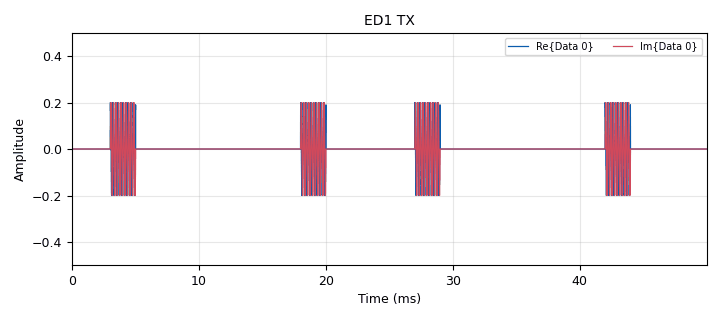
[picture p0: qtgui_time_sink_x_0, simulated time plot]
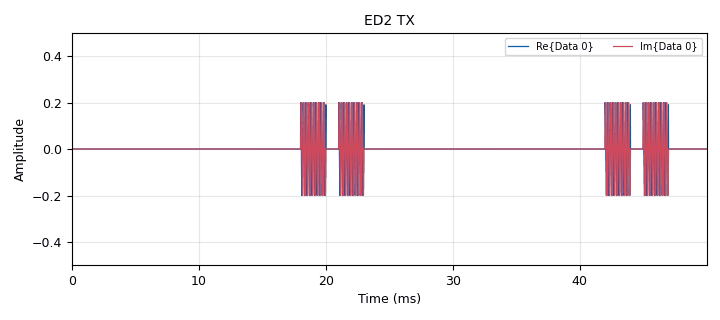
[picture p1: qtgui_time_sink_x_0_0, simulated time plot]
options:
  parameters:
    author: Qi
    generate_options: qt_gui
    id: ask_oac
    output_language: python
    title: ASK_OAC
  states: {}

blocks:
- name: Symbol_duration
  id: variable_qtgui_range
  parameters:
    gui_hint: 3,0,1,1
    label: Symbol_duration
    rangeType: int
    start: '100'
    step: '1'
    stop: '1000'
    value: '200'
  states: {}
- name: V_out
  id: variable_qtgui_range
  parameters:
    gui_hint: 4,0,1,1
    label: TX1_amp
    start: '0.01'
    step: '0.01'
    stop: '0.5'
    value: '0.2'
  states: {}
- name: V_out_0
  id: variable_qtgui_range
  parameters:
    gui_hint: 4,1,1,1
    label: TX2_amp
    start: '0.01'
    step: '0.01'
    stop: '0.5'
    value: '0.2'
  states: {}
- name: delay_0
  id: variable_qtgui_range
  parameters:
    label: TX1_delay
    rangeType: int
    start: '0'
    step: '1'
    stop: '1000'
    value: '0'
  states: {}
- name: gap
  id: variable_qtgui_range
  parameters:
    gui_hint: 3,1,1,1
    label: Guard_time
    rangeType: int
    start: '50'
    step: '1'
    stop: '1000'
    value: '100'
  states: {}
- name: samp_rate
  id: variable
  parameters:
    value: '100000'
  states: {}
- name: analog_sig_source_x_0
  id: analog_sig_source_x
  parameters:
    amp: '1'
    freq: '5000'
    offset: '0'
    phase: '0'
    samp_rate: samp_rate
    type: complex
    waveform: analog.GR_COS_WAVE
  states: {}
- name: analog_sig_source_x_0_0
  id: analog_sig_source_x
  parameters:
    amp: '1'
    freq: '5000'
    offset: '0'
    phase: '0'
    samp_rate: samp_rate
    type: complex
    waveform: analog.GR_COS_WAVE
  states: {}
- name: analog_sig_source_x_0_1
  id: analog_sig_source_x
  parameters:
    amp: '1'
    freq: '5000'
    offset: '0'
    phase: '0'
    samp_rate: samp_rate
    type: complex
    waveform: analog.GR_COS_WAVE
  states: {}
- name: band_pass_filter_0
  id: band_pass_filter
  parameters:
    decim: '1'
    gain: '1'
    high_cutoff_freq: '4000'
    low_cutoff_freq: '0.01'
    samp_rate: samp_rate
    type: fir_filter_ccf
    width: '1'
    win: window.WIN_HAMMING
  states: {}
- name: blocks_delay_0
  id: blocks_delay
  parameters:
    delay: delay_0
    type: complex
  states: {}
- name: blocks_multiply_const_vxx_0
  id: blocks_multiply_const_vxx
  parameters:
    const: V_out
    type: complex
  states: {}
- name: blocks_multiply_const_vxx_0_0
  id: blocks_multiply_const_vxx
  parameters:
    const: V_out_0
    type: complex
  states: {}
- name: blocks_multiply_const_vxx_0_0_0
  id: blocks_multiply_const_vxx
  parameters:
    const: '1'
    type: complex
  states: {}
- name: blocks_multiply_xx_0
  id: blocks_multiply_xx
  parameters:
    type: complex
  states: {}
- name: blocks_multiply_xx_0_0
  id: blocks_multiply_xx
  parameters:
    type: complex
  states: {}
- name: blocks_multiply_xx_0_1
  id: blocks_multiply_xx
  parameters:
    type: complex
  states: {}
- name: blocks_null_sink_0
  id: blocks_null_sink
  parameters:
    type: complex
  states: {}
- name: blocks_null_source_0_0
  id: blocks_null_source
  parameters:
    type: complex
  states: {}
- name: blocks_null_source_0_0_0
  id: blocks_null_source
  parameters:
    type: complex
  states: {}
- name: blocks_repeat_0
  id: blocks_repeat
  parameters:
    interp: Symbol_duration
    type: complex
  states: {}
- name: blocks_repeat_0_0
  id: blocks_repeat
  parameters:
    interp: Symbol_duration
    type: complex
  states: {}
- name: blocks_stream_mux_0_0
  id: blocks_stream_mux
  parameters:
    lengths: (Symbol_duration, gap)
    type: complex
  states: {}
- name: blocks_stream_mux_0_0_0
  id: blocks_stream_mux
  parameters:
    lengths: (Symbol_duration, gap)
    type: complex
  states: {}
- name: blocks_vector_source_x_0
  id: blocks_vector_source_x
  parameters:
    repeat: 'True'
    type: complex
    vector: (1, 0, 0, 1,0, 0, 0, 0)
  states: {}
- name: blocks_vector_source_x_0_0
  id: blocks_vector_source_x
  parameters:
    repeat: 'True'
    type: complex
    vector: (1, 1, 0, 0, 0, 0, 0, 0)
  states: {}
- name: iio_pluto_sink_0
  id: iio_pluto_sink
  parameters:
    attenuation1: '10.0'
    bandwidth: '20000000'
    buffer_size: '4096'
    cyclic: 'False'
    filter_source: '''Auto'''
    frequency: '2400000000'
    samplerate: samp_rate
    type: fc32
    uri: ip:192.168.4.1
  states: {}
- name: iio_pluto_sink_0_0
  id: iio_pluto_sink
  parameters:
    attenuation1: '10.0'
    bandwidth: '20000000'
    buffer_size: '4096'
    cyclic: 'False'
    filter_source: '''Auto'''
    frequency: '2400000000'
    samplerate: samp_rate
    type: fc32
    uri: ip:192.168.6.1
  states: {}
- name: iio_pluto_source_0
  id: iio_pluto_source
  parameters:
    bandwidth: '20000000'
    bbdc: 'True'
    buffer_size: '4096'
    filter_source: '''Auto'''
    frequency: '2400000000'
    gain1: '''slow_attack'''
    quadrature: 'True'
    rfdc: 'True'
    samplerate: samp_rate
    type: fc32
    uri: ip:192.168.2.1
  states: {}
- name: qtgui_time_sink_x_0
  id: qtgui_time_sink_x
  parameters:
    entags: 'False'
    gui_hint: 0,0,1,1
    name: '"ED1 TX"'
    size: int(10000*0.5)
    srate: samp_rate
    type: complex
    ymax: '0.5'
    ymin: '-0.5'
  states: {}
- name: qtgui_time_sink_x_0_0
  id: qtgui_time_sink_x
  parameters:
    entags: 'False'
    gui_hint: 0,1,1,1
    name: '"ED2 TX"'
    size: int(10000*0.5)
    srate: samp_rate
    type: complex
    ymax: '0.5'
    ymin: '-0.5'
  states: {}
- name: qtgui_time_sink_x_1
  id: qtgui_time_sink_x
  parameters:
    gui_hint: 1,1,1,1
    name: '"Adding curve"'
    size: '5000'
    srate: samp_rate
    type: complex
  states: {state: disabled}
- name: qtgui_time_sink_x_1_0
  id: qtgui_time_sink_x
  parameters:
    entags: 'False'
    gui_hint: 1,0,2,1
    name: '"ES RX"'
    size: int(10000*0.05*4)
    srate: samp_rate
    type: complex
    ymax: '0.7'
    ymin: '-0.7'
  states: {}

connections:
- [analog_sig_source_x_0, '0', blocks_multiply_xx_0, '1']
- [analog_sig_source_x_0_0, '0', blocks_multiply_xx_0_0, '1']
- [analog_sig_source_x_0_1, '0', blocks_multiply_xx_0_1, '1']
- [band_pass_filter_0, '0', blocks_null_sink_0, '0']
- [band_pass_filter_0, '0', qtgui_time_sink_x_1, '0']
- [blocks_delay_0, '0', blocks_multiply_const_vxx_0, '0']
- [blocks_multiply_const_vxx_0, '0', iio_pluto_sink_0, '0']
- [blocks_multiply_const_vxx_0, '0', qtgui_time_sink_x_0, '0']
- [blocks_multiply_const_vxx_0_0, '0', iio_pluto_sink_0_0, '0']
- [blocks_multiply_const_vxx_0_0, '0', qtgui_time_sink_x_0_0, '0']
- [blocks_multiply_const_vxx_0_0_0, '0', qtgui_time_sink_x_1_0, '0']
- [blocks_multiply_xx_0, '0', blocks_delay_0, '0']
- [blocks_multiply_xx_0_0, '0', band_pass_filter_0, '0']
- [blocks_multiply_xx_0_1, '0', blocks_multiply_const_vxx_0_0, '0']
- [blocks_null_source_0_0, '0', blocks_stream_mux_0_0, '1']
- [blocks_null_source_0_0_0, '0', blocks_stream_mux_0_0_0, '1']
- [blocks_repeat_0, '0', blocks_stream_mux_0_0, '0']
- [blocks_repeat_0_0, '0', blocks_stream_mux_0_0_0, '0']
- [blocks_stream_mux_0_0, '0', blocks_multiply_xx_0, '0']
- [blocks_stream_mux_0_0_0, '0', blocks_multiply_xx_0_1, '0']
- [blocks_vector_source_x_0, '0', blocks_repeat_0, '0']
- [blocks_vector_source_x_0_0, '0', blocks_repeat_0_0, '0']
- [iio_pluto_source_0, '0', blocks_multiply_const_vxx_0_0_0, '0']
- [iio_pluto_source_0, '0', blocks_multiply_xx_0_0, '0']

metadata:
  file_format: 1
  grc_version: 3.10.9.2
